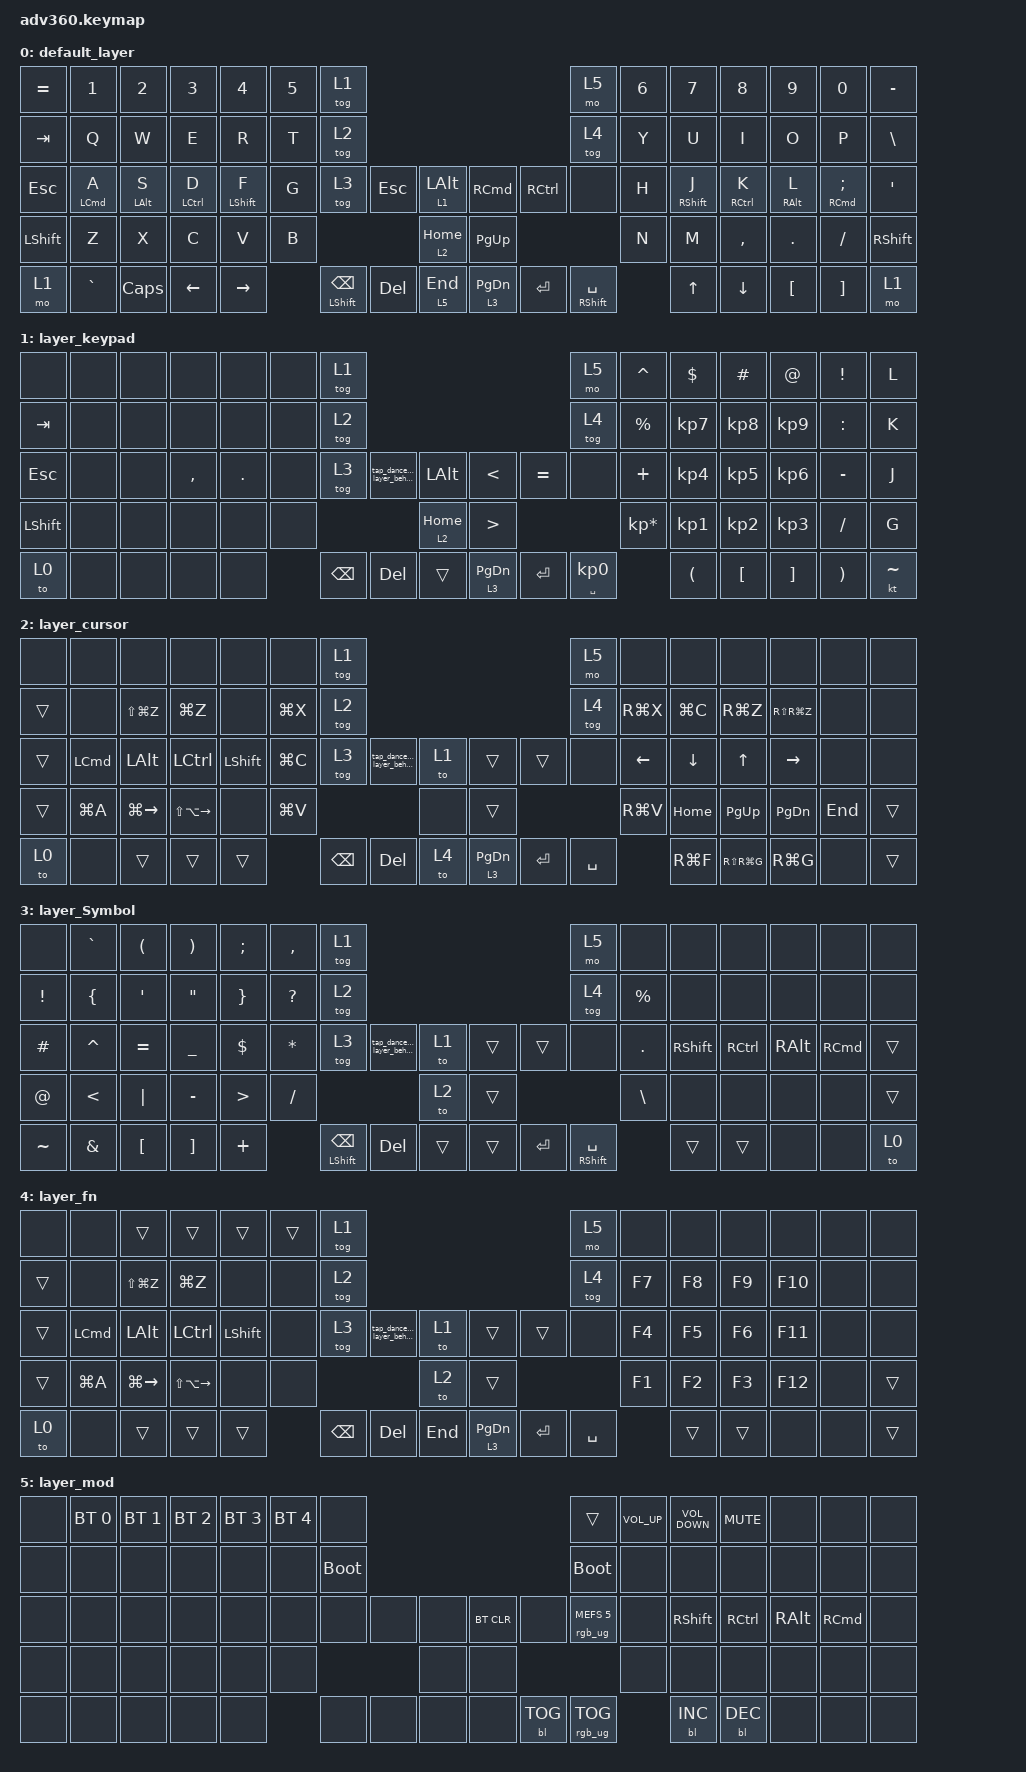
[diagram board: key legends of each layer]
/*
 * Copyright (c) 2020 The ZMK Contributors
 *
 * SPDX-License-Identifier: MIT
 */
/* THIS FILE WAS GENERATED!
 *
 * This file was generated automatically. You may or may not want to
 * edit it directly.
 */

#include <behaviors.dtsi>
#include <dt-bindings/zmk/backlight.h>
#include <dt-bindings/zmk/bt.h>
#include <dt-bindings/zmk/keys.h>
#include <dt-bindings/zmk/keys.h>
#include <dt-bindings/zmk/rgb.h>

/ {
    behaviors {
        #include "macros.dtsi"
        #include "version.dtsi"
        #ifndef VERSION_MACRO

        macro_ver: macro_ver {
            compatible = "zmk,behavior-macro";
            label = "macro_version";
            #binding-cells = <0>;
            bindings = <&kp RET>;
        };

        #endif

        hm: homerow_mods {
            compatible = "zmk,behavior-hold-tap";
            label = "HOMEROW_MODS";
            #binding-cells = <2>;
            tapping-term-ms = <250>;
            quick_tap_ms = <175>;
            flavor = "balanced";
            bindings = <&kp>, <&kp>;
        };

        tap_dance_esc_layer_behavior: tap_dance_esc_layer_behavior {
            compatible = "zmk,behavior-tap-dance";
            label = "TAP_DANCE_ESC_LAYER_BEHAVIOR";
            #binding-cells = <0>;
            bindings = <&kp ESCAPE>, <&to 0>;
        };
    };

    macros {
    };

    keymap {
        compatible = "zmk,keymap";

        default_layer {
            bindings = <
&kp EQUAL  &kp N1              &kp N2          &kp N3       &kp N4            &kp N5  &tog 1                                                                                  &mo 5                  &kp N6  &kp N7             &kp N8               &kp N9           &kp N0                       &kp MINUS
&kp TAB    &kp Q               &kp W           &kp E        &kp R             &kp T   &tog 2                                                                                  &tog 4                 &kp Y   &kp U              &kp I                &kp O            &kp P                        &kp BSLH
&kp ESC    &hm LEFT_COMMAND A  &hm LEFT_ALT S  &hm LCTRL D  &hm LEFT_SHIFT F  &kp G   &tog 3                    &kp ESCAPE  &lt 1 LEFT_ALT      &kp RIGHT_COMMAND  &kp RCTRL  &none                  &kp H   &hm RIGHT_SHIFT J  &hm RIGHT_CONTROL K  &hm RIGHT_ALT L  &hm RIGHT_COMMAND SEMICOLON  &kp SQT
&kp LSHFT  &kp Z               &kp X           &kp C        &kp V             &kp B                                         &lt 2 HOME          &kp PG_UP                                            &kp N   &kp M              &kp COMMA            &kp DOT          &kp FSLH                     &kp RSHFT
&mo 1      &kp GRAVE           &kp CAPS        &kp LEFT     &kp RIGHT                 &hm LEFT_SHIFT BACKSPACE  &kp DEL     &lt 5 END           &lt 3 PAGE_DOWN    &kp ENTER  &hm RIGHT_SHIFT SPACE          &kp UP             &kp DOWN             &kp LBKT         &kp RBKT                     &mo 1
            >;
        };

        layer_keypad {
            bindings = <
&none      &none  &none  &none      &none       &none  &tog 1                                                                                &mo 5                  &kp CARET        &kp DOLLAR            &kp HASH          &kp AT_SIGN        &kp EXCLAMATION        &kp L
&kp TAB    &none  &none  &none      &none       &none  &tog 2                                                                                &tog 4                 &kp PERCENT      &kp KP_N7             &kp KP_N8         &kp KP_N9          &kp COLON              &kp K
&kp ESC    &none  &none  &kp COMMA  &kp PERIOD  &none  &tog 3    &tap_dance_esc_layer_behavior  &kp LALT        &kp LESS_THAN     &kp EQUAL  &none                  &kp PLUS         &kp KP_N4             &kp KP_N5         &kp KP_N6          &kp MINUS              &kp J
&kp LSHFT  &none  &none  &none      &none       &none                                           &lt 2 HOME      &kp GREATER_THAN                                    &kp KP_MULTIPLY  &kp KP_N1             &kp KP_N2         &kp KP_N3          &kp SLASH              &kp G
&to 0      &none  &none  &none      &none              &kp BSPC  &kp DEL                        &trans          &lt 3 PAGE_DOWN   &kp ENTER  &mt SPACE KP_NUMBER_0                   &kp LEFT_PARENTHESIS  &kp LEFT_BRACKET  &kp RIGHT_BRACKET  &kp RIGHT_PARENTHESIS  &kt TILDE
            >;
        };

        layer_cursor {
            bindings = <
&none   &none             &none                &none                    &none           &none      &tog 1                                                                               &mo 5      &none      &none      &none          &none          &none    &none
&trans  &none             &kp LS(LG(Z))        &kp LG(Z)                &none           &kp LG(X)  &tog 2                                                                               &tog 4     &kp RG(X)  &kp LG(C)  &kp RG(Z)      &kp RS(RG(Z))  &none    &none
&trans  &kp LEFT_COMMAND  &kp LEFT_ALT         &kp LEFT_CONTROL         &kp LEFT_SHIFT  &kp LG(C)  &tog 3         &tap_dance_esc_layer_behavior  &to 1      &trans           &trans     &none      &kp LEFT   &kp DOWN   &kp UP         &kp RIGHT      &none    &none
&trans  &kp LG(A)         &kp LG(RIGHT_ARROW)  &kp LS(LA(RIGHT_ARROW))  &none           &kp LG(V)                                                &none      &trans                                 &kp RG(V)  &kp HOME   &kp PAGE_UP    &kp PAGE_DOWN  &kp END  &trans
&to 0   &none             &trans               &trans                   &trans                     &kp BACKSPACE  &kp DELETE                     &to 4      &lt 3 PAGE_DOWN  &kp ENTER  &kp SPACE             &kp RG(F)  &kp RS(RG(G))  &kp RG(G)      &none    &trans
            >;
        };

        layer_Symbol {
            bindings = <
&none            &kp GRAVE       &kp LEFT_PARENTHESIS  &kp RIGHT_PARENTHESIS  &kp SEMICOLON     &kp COMMA     &tog 1                                                                                  &mo 5                  &none          &none       &none              &none          &none              &none
&kp EXCLAMATION  &kp LEFT_BRACE  &kp SINGLE_QUOTE      &kp DOUBLE_QUOTES      &kp RIGHT_BRACE   &kp QUESTION  &tog 2                                                                                  &tog 4                 &kp PERCENT    &none       &none              &none          &none              &none
&kp HASH         &kp CARET       &kp EQUAL             &kp UNDERSCORE         &kp DOLLAR        &kp ASTERISK  &tog 3                    &tap_dance_esc_layer_behavior  &to 1       &trans  &trans     &none                  &kp PERIOD     &kp RSHIFT  &kp RIGHT_CONTROL  &kp RIGHT_ALT  &kp RIGHT_COMMAND  &trans
&kp AT_SIGN      &kp LESS_THAN   &kp PIPE              &kp MINUS              &kp GREATER_THAN  &kp SLASH                                                              &to 2       &trans                                    &kp BACKSLASH  &none       &none              &none          &none              &trans
&kp TILDE        &kp AMPERSAND   &kp LEFT_BRACKET      &kp RIGHT_BRACKET      &kp PLUS                        &hm LEFT_SHIFT BACKSPACE  &kp DELETE                     &trans      &trans  &kp ENTER  &hm RIGHT_SHIFT SPACE                 &trans      &trans             &none          &none              &to 0
            >;
        };

        layer_fn {
            bindings = <
&none   &none             &trans               &trans                   &trans          &trans  &tog 1                                                                                 &mo 5      &none   &none   &none   &none    &none  &none
&trans  &none             &kp LS(LG(Z))        &kp LG(Z)                &none           &none   &tog 2                                                                                 &tog 4     &kp F7  &kp F8  &kp F9  &kp F10  &none  &none
&trans  &kp LEFT_COMMAND  &kp LEFT_ALT         &kp LEFT_CONTROL         &kp LEFT_SHIFT  &none   &tog 3         &tap_dance_esc_layer_behavior  &to 1        &trans           &trans     &none      &kp F4  &kp F5  &kp F6  &kp F11  &none  &none
&trans  &kp LG(A)         &kp LG(RIGHT_ARROW)  &kp LS(LA(RIGHT_ARROW))  &none           &none                                                 &to 2        &trans                                 &kp F1  &kp F2  &kp F3  &kp F12  &none  &trans
&to 0   &none             &trans               &trans                   &trans                  &kp BACKSPACE  &kp DELETE                     &kp END      &lt 3 PAGE_DOWN  &kp ENTER  &kp SPACE          &trans  &trans  &none    &none  &trans
            >;
        };

        layer_mod {
            bindings = <
&none  &bt BT_SEL 0  &bt BT_SEL 1  &bt BT_SEL 2  &bt BT_SEL 3  &bt BT_SEL 4  &none                                                  &trans                  &kp C_VOLUME_UP  &kp C_VOLUME_DOWN  &kp C_MUTE         &none          &none              &none
&none  &none         &none         &none         &none         &none         &bootloader                                            &bootloader             &none            &none              &none              &none          &none              &none
&none  &none         &none         &none         &none         &none         &none        &none  &none      &bt BT_CLR  &none       &rgb_ug RGB_MEFS_CMD 5  &none            &kp RIGHT_SHIFT    &kp RIGHT_CONTROL  &kp RIGHT_ALT  &kp RIGHT_COMMAND  &none
&none  &none         &none         &none         &none         &none                             &none      &none                                           &none            &none              &none              &none          &none              &none
&none  &none         &none         &none         &none                       &none        &none  &none      &none       &bl BL_TOG  &rgb_ug RGB_TOG                          &bl BL_INC         &bl BL_DEC         &none          &none              &none
            >;
        };
    };
};
